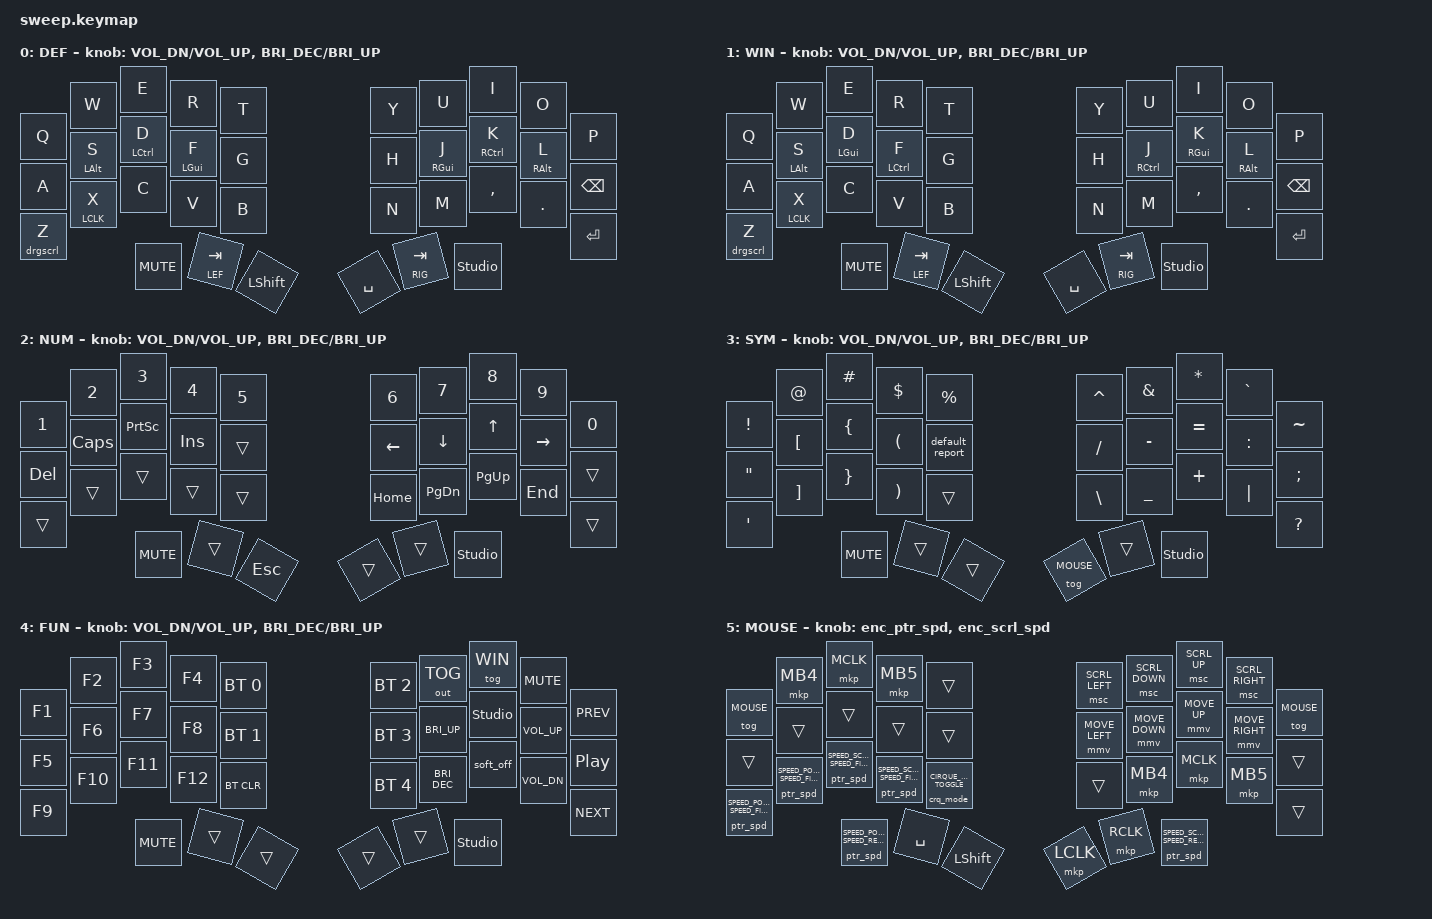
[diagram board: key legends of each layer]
// Copyright (c) 2022 The ZMK Contributors
// SPDX-License-Identifier: MIT
// #include <dt-bindings/zmk/rgb.h>

#define ZMK_POINTING_DEFAULT_MOVE_VAL 2500// 600
#define ZMK_POINTING_DEFAULT_SCRL_VAL 20// 10

#include <behaviors.dtsi>
#include <dt-bindings/zmk/bt.h>
#include <dt-bindings/zmk/keys.h>
#include <dt-bindings/zmk/outputs.h>
#include <dt-bindings/zmk/pointing.h>

#include "behaviors/character_map.dtsi"
#include "behaviors/report.dtsi"


#define MAC 0
#define WIN 1
#define RIG 2
#define LEF 3
#define TRI 4
#define MOUSE 5

#define SPEED_POINTER 0
#define SPEED_SCROLL 1
#define SPEED_PREV 0
#define SPEED_NEXT 1
#define SPEED_RESET 2
#define SPEED_FINE_PREV 3
#define SPEED_FINE_NEXT 4
#define CIRQUE_MODE_RELATIVE 0
#define CIRQUE_MODE_ABSOLUTE 1
#define CIRQUE_MODE_TOGGLE 2


&sensors {
	left_encoder {
		triggers-per-rotation = <15>;
	};
	right_encoder {
		triggers-per-rotation = <45>;
	};
};

&glidepoint_listener {
	input-processors = <&pointer_processor 0 0 &drag_scroll_processor 1 8>;
};

/ {
	pointer_processor: pointer_processor {
		compatible = "zmk,input-processor-pointer-speed";
		#input-processor-cells = <2>;
		track-remainders;
		pointer-curve = "adaptive";
		pointer-curve-deadzone = <2>;
		pointer-curve-accel-multiplier = <1>;
		pointer-curve-accel-divisor = <12>;
		pointer-curve-max-delta = <120>;
		one-x-multiplier = <1>;
		one-x-divisor = <1>;
		min-percent = <10>;
		max-percent = <400>;
		initial-speed-position = <50>;
	};
	
	drag_scroll_processor: drag_scroll_processor {
		compatible = "zmk,input-processor-drag-scroll";
		#input-processor-cells = <2>;
		track-remainders;
		native-wheel-axis = "horizontal-when-enabled";
		scroll-min-step = <1>;
		one-x-multiplier = <1>;
		one-x-divisor = <1>;
		min-percent = <10>;
		max-percent = <1000>;
		initial-speed-position = <50>;
	};
	
	behaviors {
		drgscrl: drag_scroll {
			compatible = "zmk,behavior-drag-scroll";
			#binding-cells = <0>;
		};
	
		ptr_spd: pointing_speed {
			compatible = "zmk,behavior-pointing-speed";
			#binding-cells = <2>;
		};

		enc_ptr_spd: encoder_pointer_speed {
			compatible = "zmk,behavior-sensor-rotate";
			#sensor-binding-cells = <0>;
			bindings = <&ptr_spd SPEED_POINTER SPEED_PREV>, <&ptr_spd SPEED_POINTER SPEED_NEXT>;
		};

		enc_scrl_spd: encoder_scroll_speed {
			compatible = "zmk,behavior-sensor-rotate";
			#sensor-binding-cells = <0>;
			bindings = <&ptr_spd SPEED_SCROLL SPEED_PREV>, <&ptr_spd SPEED_SCROLL SPEED_NEXT>;
		};

		crq_mode: crqm {
			compatible = "zmk,behavior-cirque-mode";
			#binding-cells = <1>;
		};

		sel_x: select_x {
			compatible = "zmk,behavior-hold-tap";
			#binding-cells = <2>;
			flavor = "tap-preferred";
			tapping-term-ms = <200>;
			quick-tap-ms = <150>;
			require-prior-idle-ms = <125>;
			bindings = <&mkp>, <&kp>;
		};
		
		ds_z: drag_scroll_z {
			compatible = "zmk,behavior-hold-tap";
			#binding-cells = <2>;
			flavor = "tap-preferred";
			tapping-term-ms = <200>;
			quick-tap-ms = <150>;
			require-prior-idle-ms = <125>;
			bindings = <&drgscrl>, <&kp>;
		};

		ht: hold_tap {
			label = "hold_tap";
			compatible = "zmk,behavior-hold-tap";
			#binding-cells = <2>;
			flavor = "balanced";
			tapping-term-ms = <200>;
			quick-tap-ms = <150>;
			require-prior-idle-ms = <125>;
			global-quick-tap;
			bindings = <&kp>, <&kp>;
		};
		mmv {
			acceleration-exponent = <1>;// 1
			time-to-max-speed-ms = <300>;// 40
			delay-ms = <0>;// 0
		};
		msc {
			acceleration-exponent = <0>;// 0
			time-to-max-speed-ms = <40>;// 500
			delay-ms = <0>;// 10
		};
	};
	
	conditional_layers {
		compatible = "zmk,conditional-layers";
		
		tri_layer {
			if-layers = <RIG LEF>;
			then-layer = <TRI>;
		};
	};

	combos {
		compatible = "zmk,combos";

		combo_er_right_click {
			timeout-ms = <25>;
			require-prior-idle-ms = <125>;
			key-positions = <2 3>;
			layers = <MAC WIN MOUSE>;
			bindings = <&mkp RCLK>;
		};

		combo_rt_forward {
			timeout-ms = <25>;
			require-prior-idle-ms = <125>;
			key-positions = <3 4>;
			layers = <MAC WIN MOUSE>;
			bindings = <&mkp MB5>;
		};

		combo_df_left_click {
			timeout-ms = <25>;
			require-prior-idle-ms = <125>;
			key-positions = <12 13>;
			layers = <MAC WIN MOUSE>;
			bindings = <&mkp LCLK>;
		};

		combo_fg_back {
			timeout-ms = <25>;
			require-prior-idle-ms = <125>;
			key-positions = <13 14>;
			layers = <MAC WIN MOUSE>;
			bindings = <&mkp MB4>;
		};

		combo_cv_middle_click {
			timeout-ms = <25>;
			require-prior-idle-ms = <125>;
			key-positions = <22 23>;
			layers = <MAC WIN MOUSE>;
			bindings = <&mkp MCLK>;
		};
	};
	
	keymap {
		compatible = "zmk,keymap";
		
		default_layer {
			display-name = "DEF";
			bindings = <
			&kp Q   &kp W       &kp E        &kp R        &kp T        &kp Y      &kp U        &kp I        &kp O       &kp P
			&kp A   &ht LALT S  &ht LCTRL D  &ht LGUI F   &kp G         &kp H      &ht RGUI J   &ht RCTRL K  &ht RALT L  &kp BSPC
			&ds_z 0 Z   &sel_x LCLK X       &kp C        &kp V        &kp B         &kp N      &kp M        &kp COMMA    &kp DOT     &kp ENTER
			&kp C_MUTE  &lt LEF TAB  &kp LSHIFT    &kp SPACE  &lt RIG TAB   &studio_unlock
			>;
			sensor-bindings = <&inc_dec_kp C_VOL_DN C_VOL_UP &inc_dec_kp C_BRI_DEC C_BRI_UP>;
		};
		
		windows_layer {
			display-name = "WIN";
			bindings = <
			&kp Q  &kp W       &kp E       &kp R        &kp T         &kp Y      &kp U        &kp I       &kp O       &kp P
			&kp A  &ht LALT S  &ht LGUI D  &ht LCTRL F  &kp G         &kp H      &ht RCTRL J  &ht RGUI K  &ht RALT L  &kp BSPC
			&ds_z 0 Z  &sel_x LCLK X       &kp C       &kp V        &kp B         &kp N      &kp M        &kp COMMA   &kp DOT     &kp ENTER
			&kp C_MUTE  &lt LEF TAB  &kp LSHIFT     &kp SPACE &lt RIG TAB  &studio_unlock
			>;
			sensor-bindings = <&inc_dec_kp C_VOL_DN C_VOL_UP &inc_dec_kp C_BRI_DEC C_BRI_UP>;
		};
		
		right_layer {
			display-name = "NUM";
			bindings = <
			&kp N1   &kp N2    &kp N3     &kp N4   &kp N5     &kp N6  &kp N7    &kp N8     &kp N9     &kp N0
			&kp DEL  &kp CAPS  &kp PSCRN  &kp INS  &trans     &kp LEFT  &kp DOWN   &kp UP  &kp RIGHT &trans
			&trans   &trans    &trans     &trans   &trans     &kp HOME  &kp PG_DN  &kp PG_UP  &kp END &trans
			&kp C_MUTE &trans   &kp ESC   &trans  &trans &studio_unlock
			>;
			sensor-bindings = <&inc_dec_kp C_VOL_DN C_VOL_UP &inc_dec_kp C_BRI_DEC C_BRI_UP>;
		};
		
		left_layer {
			display-name = "SYM";
			bindings = <
			&kp EXCL  &kp AT    &kp HASH  &kp DLLR  &kp PRCNT    &kp CARET  &kp AMPS   &kp ASTRK  &kp GRAVE  &kp TILDE
			&kp DQT   &kp LBKT  &kp LBRC  &kp LPAR  &default_report     &kp FSLH   &kp MINUS  &kp EQUAL  &kp COLON  &kp SEMI
			&kp SQT   &kp RBKT  &kp RBRC  &kp RPAR  &trans   &kp BSLH   &kp UNDER  &kp PLUS   &kp PIPE   &kp QMARK
			&kp C_MUTE &trans    &trans       &tog MOUSE     &trans  &studio_unlock
			>;
			sensor-bindings = <&inc_dec_kp C_VOL_DN C_VOL_UP &inc_dec_kp C_BRI_DEC C_BRI_UP>;
		};
		
		tri_layer {
			display-name = "FUN";
			bindings = <
			&kp F1  &kp F2   &kp F3   &kp F4   &bt BT_SEL 0    &bt BT_SEL 2  &out OUT_TOG   &tog WIN  &kp C_MUTE    &kp C_PREV
			&kp F5  &kp F6   &kp F7   &kp F8   &bt BT_SEL 1    &bt BT_SEL 3  &kp C_BRI_UP   &studio_unlock    &kp C_VOL_UP  &kp C_PP
			&kp F9  &kp F10  &kp F11  &kp F12  &bt BT_CLR      &bt BT_SEL 4  &kp C_BRI_DEC  &soft_off     &kp C_VOL_DN  &kp C_NEXT
			&kp C_MUTE  &trans   &trans          &trans        &trans  &studio_unlock
			>;
			sensor-bindings = <&inc_dec_kp C_VOL_DN C_VOL_UP &inc_dec_kp C_BRI_DEC C_BRI_UP>;
		};
	
		mouse {
			display-name = "MOUSE";
			bindings = <
			&tog MOUSE  &mkp MB4  &mkp MCLK  &mkp MB5   &trans      &msc SCRL_LEFT     &msc SCRL_DOWN    &msc SCRL_UP     &msc SCRL_RIGHT    &tog MOUSE
			&trans      &trans    &trans     &trans     &trans      &mmv MOVE_LEFT     &mmv MOVE_DOWN    &mmv MOVE_UP     &mmv MOVE_RIGHT    &trans
			&ptr_spd SPEED_POINTER SPEED_FINE_PREV  &ptr_spd SPEED_POINTER SPEED_FINE_NEXT  &ptr_spd SPEED_SCROLL SPEED_FINE_PREV  &ptr_spd SPEED_SCROLL SPEED_FINE_NEXT  &crq_mode CIRQUE_MODE_TOGGLE        &trans     &mkp MB4  &mkp MCLK  &mkp MB5  &trans
			&ptr_spd SPEED_POINTER SPEED_RESET &kp SPACE  &kp LSHIFT  &mkp LCLK  &mkp RCLK &ptr_spd SPEED_SCROLL SPEED_RESET
			>;
			sensor-bindings = <&enc_ptr_spd &enc_scrl_spd>;
		};
	};
};
